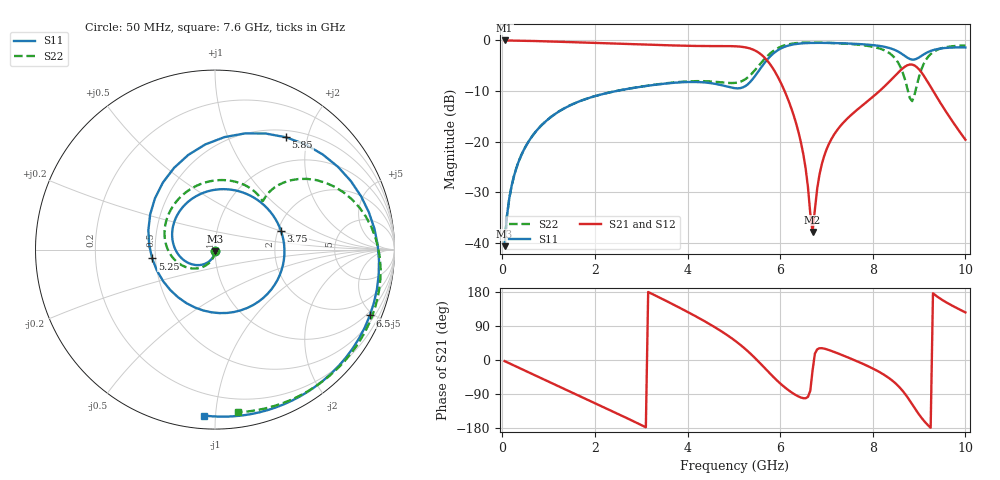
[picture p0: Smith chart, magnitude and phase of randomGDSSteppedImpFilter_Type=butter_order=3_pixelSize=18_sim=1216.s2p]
! freq	dB(S11)	phase(S11)	dB(S12)	phase(S12)
!  dB(S21)	phase(S21)	dB(S22)	phase(S22)
!S-par simulation data
#  GHz  S  DB  R 50
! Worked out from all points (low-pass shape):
!   200 points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, 50 MHz to 10 GHz, reference 50 ohm
!   highest |S21| = -0.01 dB at 50 MHz (marker M1); lowest = -37.9 dB at 6.7 GHz (marker M2)
!   |S21| within 3 dB of the highest: start of sweep to 5.617 GHz
!   lowest |S11| = -40.7 dB at 50 MHz (marker M3), VSWR 1.02, Z = 50 - j0.92 ohm
!   |S11| at or under -10 dB: start of sweep to 2.468 GHz
!   |S22| runs from -40.7 to -0.4 dB; largest |S21 - S12| = 0
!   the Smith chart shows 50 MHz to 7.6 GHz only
!   S11 on the Smith chart (normalised r, x): 50 MHz: 1.00, -0.02; 3.75 GHz: 2.08, +0.50; 5.25 GHz: 0.48, -0.05; 5.85 GHz: 0.60, +1.65; 6.5 GHz: 0.79, -4.78; 7.6 GHz: 0.07, -0.94
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0.05  -40.71 -92.1  -0.01 -2.9  -0.01 -2.9  -40.70 -91.5
0.2  -28.83 -102.6  -0.02 -11.5  -0.02 -11.5  -28.82 -100.1
0.5  -21.06 -122.1  -0.07 -28.6  -0.07 -28.6  -21.05 -116.0
1.75  -11.76 157.3  -0.42 -99.5  -0.42 -99.5  -11.75 -177.9
2.65  -9.68 96.2  -0.69 -151.0  -0.69 -151.0  -9.67 140.2
3.4  -8.66 42.2  -0.91 164.4  -0.91 164.4  -8.62 105.7
3.75  -8.35 15.6  -1.01 142.8  -1.01 142.8  -8.28 89.4
4.45  -8.39 -44.8  -1.12 96.6  -1.12 96.6  -8.09 58.8
5.05  -9.47 -127.8  -1.17 48.7  -1.17 48.7  -8.37 45.4
5.25  -9.03 -171.9  -1.37 28.8  -1.37 28.8  -7.66 46.5
5.5  -6.51 127.9  -2.21 -0.1  -2.21 -0.1  -5.40 44.2
5.85  -2.61 57.7  -5.62 -44.3  -5.62 -44.3  -2.10 23.9
6.5  -0.56 -23.0  -22.51 -100.8  -22.51 -100.8  -0.44 -22.9
6.7  -0.49 -39.3  -37.90 -27.9  -37.90 -27.9  -0.41 -34.7
6.95  -0.48 -56.7  -22.89 30.0  -22.89 30.0  -0.45 -48.4
7.6  -0.66 -93.7  -14.20 -0.2  -14.20 -0.2  -0.77 -82.1
8.35  -1.48 -131.6  -8.22 -47.7  -8.22 -47.7  -2.46 -134.6
8.6  -2.49 -143.2  -5.90 -75.1  -5.90 -75.1  -5.30 -172.3
8.8  -3.67 -145.9  -4.77 -107.3  -4.77 -107.3  -11.39 111.8
9.1  -2.77 -145.4  -6.96 -159.7  -6.96 -159.7  -4.63 -32.2
9.45  -1.62 -162.7  -12.20 162.4  -12.20 162.4  -1.64 -80.9
10  -1.39 166.3  -19.64 125.5  -19.64 125.5  -1.00 -118.5
